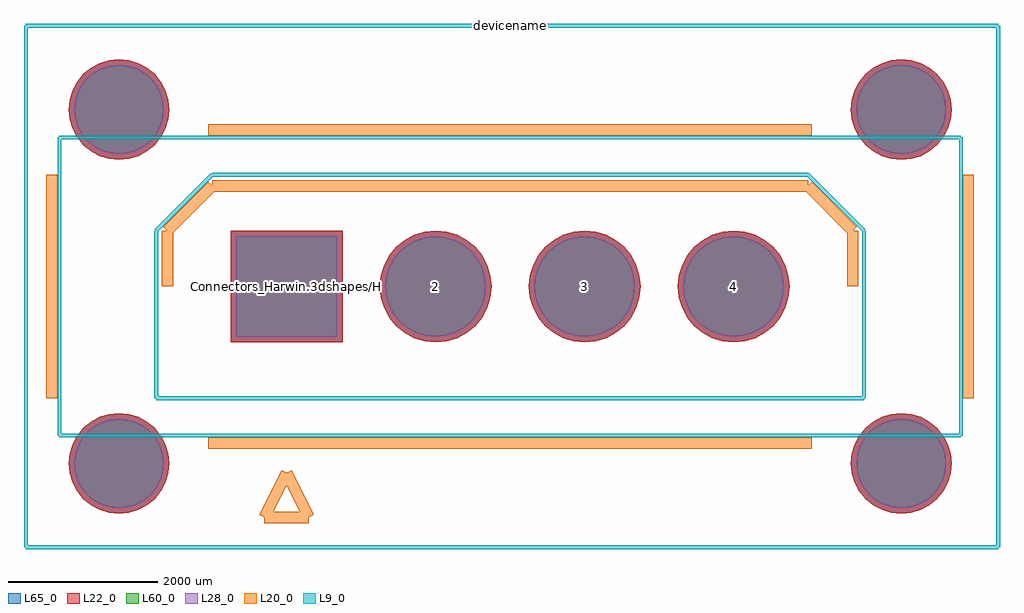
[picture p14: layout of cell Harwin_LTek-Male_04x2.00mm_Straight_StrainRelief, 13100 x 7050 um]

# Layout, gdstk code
import gdstk
lib = gdstk.Library(unit=1e-6, precision=1e-09)
def R(c, l, rs):  # rectangles x0, y0, x1, y1
    for r in rs: c.add(gdstk.rectangle(r[:2], r[2:], *l))
def P(c, l, *ps):  # polygons
    for p in ps: c.add(gdstk.Polygon(p, *l))
L9_0 = (9, 0)
L20_0 = (20, 0)
L22_0 = (22, 0)
L28_0 = (28, 0)
L60_0 = (60, 0)
L65_0 = (65, 0)

harwin_ltek_male_04x2_00 = lib.new_cell('Harwin_LTek-Male_04x2.00mm_Straight_StrainRelief')
R(harwin_ltek_male_04x2_00, L22_0, [(-750,-750,750,750)])
P(harwin_ltek_male_04x2_00, L22_0, [(8925,-2375),(8912.03,-2243.314),(8873.619,-2116.689),(8811.242,-1999.99),(8727.297,-1897.703),(8625.01,-1813.758),(8508.311,-1751.381),(8381.686,-1712.97),(8250,-1700),(8118.314,-1712.97),(7991.689,-1751.381),(7874.99,-1813.758),(7772.703,-1897.703),(7688.758,-1999.99),(7626.381,-2116.689),(7587.97,-2243.314),(7575,-2375),(7587.97,-2506.686),(7626.381,-2633.311),(7688.758,-2750.01),(7772.703,-2852.297),(7874.99,-2936.242),(7991.689,-2998.619),(8118.314,-3037.03),(8250,-3050),(8381.686,-3037.03),(8508.311,-2998.619),(8625.01,-2936.242),(8727.297,-2852.297),(8811.242,-2750.01),(8873.619,-2633.311),(8912.03,-2506.686)],
  [(8925,2375),(8912.03,2506.686),(8873.619,2633.311),(8811.242,2750.01),(8727.297,2852.297),(8625.01,2936.242),(8508.311,2998.619),(8381.686,3037.03),(8250,3050),(8118.314,3037.03),(7991.689,2998.619),(7874.99,2936.242),(7772.703,2852.297),(7688.758,2750.01),(7626.381,2633.311),(7587.97,2506.686),(7575,2375),(7587.97,2243.314),(7626.381,2116.689),(7688.758,1999.99),(7772.703,1897.703),(7874.99,1813.758),(7991.689,1751.381),(8118.314,1712.97),(8250,1700),(8381.686,1712.97),(8508.311,1751.381),(8625.01,1813.758),(8727.297,1897.703),(8811.242,1999.99),(8873.619,2116.689),(8912.03,2243.314)],
  [(-1575,-2375),(-1587.97,-2243.314),(-1626.381,-2116.689),(-1688.758,-1999.99),(-1772.703,-1897.703),(-1874.99,-1813.758),(-1991.689,-1751.381),(-2118.314,-1712.97),(-2250,-1700),(-2381.686,-1712.97),(-2508.311,-1751.381),(-2625.01,-1813.758),(-2727.297,-1897.703),(-2811.242,-1999.99),(-2873.619,-2116.689),(-2912.03,-2243.314),(-2925,-2375),(-2912.03,-2506.686),(-2873.619,-2633.311),(-2811.242,-2750.01),(-2727.297,-2852.297),(-2625.01,-2936.242),(-2508.311,-2998.619),(-2381.686,-3037.03),(-2250,-3050),(-2118.314,-3037.03),(-1991.689,-2998.619),(-1874.99,-2936.242),(-1772.703,-2852.297),(-1688.758,-2750.01),(-1626.381,-2633.311),(-1587.97,-2506.686)],
  [(-1575,2375),(-1587.97,2506.686),(-1626.381,2633.311),(-1688.758,2750.01),(-1772.703,2852.297),(-1874.99,2936.242),(-1991.689,2998.619),(-2118.314,3037.03),(-2250,3050),(-2381.686,3037.03),(-2508.311,2998.619),(-2625.01,2936.242),(-2727.297,2852.297),(-2811.242,2750.01),(-2873.619,2633.311),(-2912.03,2506.686),(-2925,2375),(-2912.03,2243.314),(-2873.619,2116.689),(-2811.242,1999.99),(-2727.297,1897.703),(-2625.01,1813.758),(-2508.311,1751.381),(-2381.686,1712.97),(-2250,1700),(-2118.314,1712.97),(-1991.689,1751.381),(-1874.99,1813.758),(-1772.703,1897.703),(-1688.758,1999.99),(-1626.381,2116.689),(-1587.97,2243.314)],
  [(6750,0),(6735.589,146.318),(6692.91,287.013),(6623.602,416.678),(6530.33,530.33),(6416.678,623.602),(6287.013,692.91),(6146.318,735.589),(6000,750),(5853.682,735.589),(5712.987,692.91),(5583.322,623.602),(5469.67,530.33),(5376.398,416.678),(5307.09,287.013),(5264.411,146.318),(5250,0),(5264.411,-146.318),(5307.09,-287.013),(5376.398,-416.678),(5469.67,-530.33),(5583.322,-623.602),(5712.987,-692.91),(5853.682,-735.589),(6000,-750),(6146.318,-735.589),(6287.013,-692.91),(6416.678,-623.602),(6530.33,-530.33),(6623.602,-416.678),(6692.91,-287.013),(6735.589,-146.318)],
  [(4750,0),(4735.589,146.318),(4692.91,287.013),(4623.602,416.678),(4530.33,530.33),(4416.678,623.602),(4287.013,692.91),(4146.318,735.589),(4000,750),(3853.682,735.589),(3712.987,692.91),(3583.322,623.602),(3469.67,530.33),(3376.398,416.678),(3307.09,287.013),(3264.411,146.318),(3250,0),(3264.411,-146.318),(3307.09,-287.013),(3376.398,-416.678),(3469.67,-530.33),(3583.322,-623.602),(3712.987,-692.91),(3853.682,-735.589),(4000,-750),(4146.318,-735.589),(4287.013,-692.91),(4416.678,-623.602),(4530.33,-530.33),(4623.602,-416.678),(4692.91,-287.013),(4735.589,-146.318)],
  [(2750,0),(2735.589,146.318),(2692.91,287.013),(2623.602,416.678),(2530.33,530.33),(2416.678,623.602),(2287.013,692.91),(2146.318,735.589),(2000,750),(1853.682,735.589),(1712.987,692.91),(1583.322,623.602),(1469.67,530.33),(1376.398,416.678),(1307.09,287.013),(1264.411,146.318),(1250,0),(1264.411,-146.318),(1307.09,-287.013),(1376.398,-416.678),(1469.67,-530.33),(1583.322,-623.602),(1712.987,-692.91),(1853.682,-735.589),(2000,-750),(2146.318,-735.589),(2287.013,-692.91),(2416.678,-623.602),(2530.33,-530.33),(2623.602,-416.678),(2692.91,-287.013),(2735.589,-146.318)])
R(harwin_ltek_male_04x2_00, L28_0, [(-675,-675,675,675)])
P(harwin_ltek_male_04x2_00, L28_0, [(8850,-2375),(8838.471,-2257.946),(8804.328,-2145.39),(8748.882,-2041.658),(8674.264,-1950.736),(8583.342,-1876.118),(8479.61,-1820.672),(8367.054,-1786.529),(8250,-1775),(8132.946,-1786.529),(8020.39,-1820.672),(7916.658,-1876.118),(7825.736,-1950.736),(7751.118,-2041.658),(7695.672,-2145.39),(7661.529,-2257.946),(7650,-2375),(7661.529,-2492.054),(7695.672,-2604.61),(7751.118,-2708.342),(7825.736,-2799.264),(7916.658,-2873.882),(8020.39,-2929.328),(8132.946,-2963.471),(8250,-2975),(8367.054,-2963.471),(8479.61,-2929.328),(8583.342,-2873.882),(8674.264,-2799.264),(8748.882,-2708.342),(8804.328,-2604.61),(8838.471,-2492.054)],
  [(8850,2375),(8838.471,2492.054),(8804.328,2604.61),(8748.882,2708.342),(8674.264,2799.264),(8583.342,2873.882),(8479.61,2929.328),(8367.054,2963.471),(8250,2975),(8132.946,2963.471),(8020.39,2929.328),(7916.658,2873.882),(7825.736,2799.264),(7751.118,2708.342),(7695.672,2604.61),(7661.529,2492.054),(7650,2375),(7661.529,2257.946),(7695.672,2145.39),(7751.118,2041.658),(7825.736,1950.736),(7916.658,1876.118),(8020.39,1820.672),(8132.946,1786.529),(8250,1775),(8367.054,1786.529),(8479.61,1820.672),(8583.342,1876.118),(8674.264,1950.736),(8748.882,2041.658),(8804.328,2145.39),(8838.471,2257.946)],
  [(-1650,-2375),(-1661.529,-2257.946),(-1695.672,-2145.39),(-1751.118,-2041.658),(-1825.736,-1950.736),(-1916.658,-1876.118),(-2020.39,-1820.672),(-2132.946,-1786.529),(-2250,-1775),(-2367.054,-1786.529),(-2479.61,-1820.672),(-2583.342,-1876.118),(-2674.264,-1950.736),(-2748.882,-2041.658),(-2804.328,-2145.39),(-2838.471,-2257.946),(-2850,-2375),(-2838.471,-2492.054),(-2804.328,-2604.61),(-2748.882,-2708.342),(-2674.264,-2799.264),(-2583.342,-2873.882),(-2479.61,-2929.328),(-2367.054,-2963.471),(-2250,-2975),(-2132.946,-2963.471),(-2020.39,-2929.328),(-1916.658,-2873.882),(-1825.736,-2799.264),(-1751.118,-2708.342),(-1695.672,-2604.61),(-1661.529,-2492.054)],
  [(-1650,2375),(-1661.529,2492.054),(-1695.672,2604.61),(-1751.118,2708.342),(-1825.736,2799.264),(-1916.658,2873.882),(-2020.39,2929.328),(-2132.946,2963.471),(-2250,2975),(-2367.054,2963.471),(-2479.61,2929.328),(-2583.342,2873.882),(-2674.264,2799.264),(-2748.882,2708.342),(-2804.328,2604.61),(-2838.471,2492.054),(-2850,2375),(-2838.471,2257.946),(-2804.328,2145.39),(-2748.882,2041.658),(-2674.264,1950.736),(-2583.342,1876.118),(-2479.61,1820.672),(-2367.054,1786.529),(-2250,1775),(-2132.946,1786.529),(-2020.39,1820.672),(-1916.658,1876.118),(-1825.736,1950.736),(-1751.118,2041.658),(-1695.672,2145.39),(-1661.529,2257.946)],
  [(6675,0),(6662.03,131.686),(6623.619,258.311),(6561.242,375.01),(6477.297,477.297),(6375.01,561.242),(6258.311,623.619),(6131.686,662.03),(6000,675),(5868.314,662.03),(5741.689,623.619),(5624.99,561.242),(5522.703,477.297),(5438.758,375.01),(5376.381,258.311),(5337.97,131.686),(5325,0),(5337.97,-131.686),(5376.381,-258.311),(5438.758,-375.01),(5522.703,-477.297),(5624.99,-561.242),(5741.689,-623.619),(5868.314,-662.03),(6000,-675),(6131.686,-662.03),(6258.311,-623.619),(6375.01,-561.242),(6477.297,-477.297),(6561.242,-375.01),(6623.619,-258.311),(6662.03,-131.686)],
  [(4675,0),(4662.03,131.686),(4623.619,258.311),(4561.242,375.01),(4477.297,477.297),(4375.01,561.242),(4258.311,623.619),(4131.686,662.03),(4000,675),(3868.314,662.03),(3741.689,623.619),(3624.99,561.242),(3522.703,477.297),(3438.758,375.01),(3376.381,258.311),(3337.97,131.686),(3325,0),(3337.97,-131.686),(3376.381,-258.311),(3438.758,-375.01),(3522.703,-477.297),(3624.99,-561.242),(3741.689,-623.619),(3868.314,-662.03),(4000,-675),(4131.686,-662.03),(4258.311,-623.619),(4375.01,-561.242),(4477.297,-477.297),(4561.242,-375.01),(4623.619,-258.311),(4662.03,-131.686)],
  [(2675,0),(2662.03,131.686),(2623.619,258.311),(2561.242,375.01),(2477.297,477.297),(2375.01,561.242),(2258.311,623.619),(2131.686,662.03),(2000,675),(1868.314,662.03),(1741.689,623.619),(1624.99,561.242),(1522.703,477.297),(1438.758,375.01),(1376.381,258.311),(1337.97,131.686),(1325,0),(1337.97,-131.686),(1376.381,-258.311),(1438.758,-375.01),(1522.703,-477.297),(1624.99,-561.242),(1741.689,-623.619),(1868.314,-662.03),(2000,-675),(2131.686,-662.03),(2258.311,-623.619),(2375.01,-561.242),(2477.297,-477.297),(2561.242,-375.01),(2623.619,-258.311),(2662.03,-131.686)])
R(harwin_ltek_male_04x2_00, L60_0, [(-675,-675,675,675)])
P(harwin_ltek_male_04x2_00, L60_0, [(8850,-2375),(8838.471,-2257.946),(8804.328,-2145.39),(8748.882,-2041.658),(8674.264,-1950.736),(8583.342,-1876.118),(8479.61,-1820.672),(8367.054,-1786.529),(8250,-1775),(8132.946,-1786.529),(8020.39,-1820.672),(7916.658,-1876.118),(7825.736,-1950.736),(7751.118,-2041.658),(7695.672,-2145.39),(7661.529,-2257.946),(7650,-2375),(7661.529,-2492.054),(7695.672,-2604.61),(7751.118,-2708.342),(7825.736,-2799.264),(7916.658,-2873.882),(8020.39,-2929.328),(8132.946,-2963.471),(8250,-2975),(8367.054,-2963.471),(8479.61,-2929.328),(8583.342,-2873.882),(8674.264,-2799.264),(8748.882,-2708.342),(8804.328,-2604.61),(8838.471,-2492.054)],
  [(8850,2375),(8838.471,2492.054),(8804.328,2604.61),(8748.882,2708.342),(8674.264,2799.264),(8583.342,2873.882),(8479.61,2929.328),(8367.054,2963.471),(8250,2975),(8132.946,2963.471),(8020.39,2929.328),(7916.658,2873.882),(7825.736,2799.264),(7751.118,2708.342),(7695.672,2604.61),(7661.529,2492.054),(7650,2375),(7661.529,2257.946),(7695.672,2145.39),(7751.118,2041.658),(7825.736,1950.736),(7916.658,1876.118),(8020.39,1820.672),(8132.946,1786.529),(8250,1775),(8367.054,1786.529),(8479.61,1820.672),(8583.342,1876.118),(8674.264,1950.736),(8748.882,2041.658),(8804.328,2145.39),(8838.471,2257.946)],
  [(-1650,-2375),(-1661.529,-2257.946),(-1695.672,-2145.39),(-1751.118,-2041.658),(-1825.736,-1950.736),(-1916.658,-1876.118),(-2020.39,-1820.672),(-2132.946,-1786.529),(-2250,-1775),(-2367.054,-1786.529),(-2479.61,-1820.672),(-2583.342,-1876.118),(-2674.264,-1950.736),(-2748.882,-2041.658),(-2804.328,-2145.39),(-2838.471,-2257.946),(-2850,-2375),(-2838.471,-2492.054),(-2804.328,-2604.61),(-2748.882,-2708.342),(-2674.264,-2799.264),(-2583.342,-2873.882),(-2479.61,-2929.328),(-2367.054,-2963.471),(-2250,-2975),(-2132.946,-2963.471),(-2020.39,-2929.328),(-1916.658,-2873.882),(-1825.736,-2799.264),(-1751.118,-2708.342),(-1695.672,-2604.61),(-1661.529,-2492.054)],
  [(-1650,2375),(-1661.529,2492.054),(-1695.672,2604.61),(-1751.118,2708.342),(-1825.736,2799.264),(-1916.658,2873.882),(-2020.39,2929.328),(-2132.946,2963.471),(-2250,2975),(-2367.054,2963.471),(-2479.61,2929.328),(-2583.342,2873.882),(-2674.264,2799.264),(-2748.882,2708.342),(-2804.328,2604.61),(-2838.471,2492.054),(-2850,2375),(-2838.471,2257.946),(-2804.328,2145.39),(-2748.882,2041.658),(-2674.264,1950.736),(-2583.342,1876.118),(-2479.61,1820.672),(-2367.054,1786.529),(-2250,1775),(-2132.946,1786.529),(-2020.39,1820.672),(-1916.658,1876.118),(-1825.736,1950.736),(-1751.118,2041.658),(-1695.672,2145.39),(-1661.529,2257.946)],
  [(6675,0),(6662.03,131.686),(6623.619,258.311),(6561.242,375.01),(6477.297,477.297),(6375.01,561.242),(6258.311,623.619),(6131.686,662.03),(6000,675),(5868.314,662.03),(5741.689,623.619),(5624.99,561.242),(5522.703,477.297),(5438.758,375.01),(5376.381,258.311),(5337.97,131.686),(5325,0),(5337.97,-131.686),(5376.381,-258.311),(5438.758,-375.01),(5522.703,-477.297),(5624.99,-561.242),(5741.689,-623.619),(5868.314,-662.03),(6000,-675),(6131.686,-662.03),(6258.311,-623.619),(6375.01,-561.242),(6477.297,-477.297),(6561.242,-375.01),(6623.619,-258.311),(6662.03,-131.686)],
  [(4675,0),(4662.03,131.686),(4623.619,258.311),(4561.242,375.01),(4477.297,477.297),(4375.01,561.242),(4258.311,623.619),(4131.686,662.03),(4000,675),(3868.314,662.03),(3741.689,623.619),(3624.99,561.242),(3522.703,477.297),(3438.758,375.01),(3376.381,258.311),(3337.97,131.686),(3325,0),(3337.97,-131.686),(3376.381,-258.311),(3438.758,-375.01),(3522.703,-477.297),(3624.99,-561.242),(3741.689,-623.619),(3868.314,-662.03),(4000,-675),(4131.686,-662.03),(4258.311,-623.619),(4375.01,-561.242),(4477.297,-477.297),(4561.242,-375.01),(4623.619,-258.311),(4662.03,-131.686)],
  [(2675,0),(2662.03,131.686),(2623.619,258.311),(2561.242,375.01),(2477.297,477.297),(2375.01,561.242),(2258.311,623.619),(2131.686,662.03),(2000,675),(1868.314,662.03),(1741.689,623.619),(1624.99,561.242),(1522.703,477.297),(1438.758,375.01),(1376.381,258.311),(1337.97,131.686),(1325,0),(1337.97,-131.686),(1376.381,-258.311),(1438.758,-375.01),(1522.703,-477.297),(1624.99,-561.242),(1741.689,-623.619),(1868.314,-662.03),(2000,-675),(2131.686,-662.03),(2258.311,-623.619),(2375.01,-561.242),(2477.297,-477.297),(2561.242,-375.01),(2623.619,-258.311),(2662.03,-131.686)])
R(harwin_ltek_male_04x2_00, L65_0, [(-750,-750,750,750)])
P(harwin_ltek_male_04x2_00, L65_0, [(8925,-2375),(8912.03,-2243.314),(8873.619,-2116.689),(8811.242,-1999.99),(8727.297,-1897.703),(8625.01,-1813.758),(8508.311,-1751.381),(8381.686,-1712.97),(8250,-1700),(8118.314,-1712.97),(7991.689,-1751.381),(7874.99,-1813.758),(7772.703,-1897.703),(7688.758,-1999.99),(7626.381,-2116.689),(7587.97,-2243.314),(7575,-2375),(7587.97,-2506.686),(7626.381,-2633.311),(7688.758,-2750.01),(7772.703,-2852.297),(7874.99,-2936.242),(7991.689,-2998.619),(8118.314,-3037.03),(8250,-3050),(8381.686,-3037.03),(8508.311,-2998.619),(8625.01,-2936.242),(8727.297,-2852.297),(8811.242,-2750.01),(8873.619,-2633.311),(8912.03,-2506.686)],
  [(8925,2375),(8912.03,2506.686),(8873.619,2633.311),(8811.242,2750.01),(8727.297,2852.297),(8625.01,2936.242),(8508.311,2998.619),(8381.686,3037.03),(8250,3050),(8118.314,3037.03),(7991.689,2998.619),(7874.99,2936.242),(7772.703,2852.297),(7688.758,2750.01),(7626.381,2633.311),(7587.97,2506.686),(7575,2375),(7587.97,2243.314),(7626.381,2116.689),(7688.758,1999.99),(7772.703,1897.703),(7874.99,1813.758),(7991.689,1751.381),(8118.314,1712.97),(8250,1700),(8381.686,1712.97),(8508.311,1751.381),(8625.01,1813.758),(8727.297,1897.703),(8811.242,1999.99),(8873.619,2116.689),(8912.03,2243.314)],
  [(-1575,-2375),(-1587.97,-2243.314),(-1626.381,-2116.689),(-1688.758,-1999.99),(-1772.703,-1897.703),(-1874.99,-1813.758),(-1991.689,-1751.381),(-2118.314,-1712.97),(-2250,-1700),(-2381.686,-1712.97),(-2508.311,-1751.381),(-2625.01,-1813.758),(-2727.297,-1897.703),(-2811.242,-1999.99),(-2873.619,-2116.689),(-2912.03,-2243.314),(-2925,-2375),(-2912.03,-2506.686),(-2873.619,-2633.311),(-2811.242,-2750.01),(-2727.297,-2852.297),(-2625.01,-2936.242),(-2508.311,-2998.619),(-2381.686,-3037.03),(-2250,-3050),(-2118.314,-3037.03),(-1991.689,-2998.619),(-1874.99,-2936.242),(-1772.703,-2852.297),(-1688.758,-2750.01),(-1626.381,-2633.311),(-1587.97,-2506.686)],
  [(-1575,2375),(-1587.97,2506.686),(-1626.381,2633.311),(-1688.758,2750.01),(-1772.703,2852.297),(-1874.99,2936.242),(-1991.689,2998.619),(-2118.314,3037.03),(-2250,3050),(-2381.686,3037.03),(-2508.311,2998.619),(-2625.01,2936.242),(-2727.297,2852.297),(-2811.242,2750.01),(-2873.619,2633.311),(-2912.03,2506.686),(-2925,2375),(-2912.03,2243.314),(-2873.619,2116.689),(-2811.242,1999.99),(-2727.297,1897.703),(-2625.01,1813.758),(-2508.311,1751.381),(-2381.686,1712.97),(-2250,1700),(-2118.314,1712.97),(-1991.689,1751.381),(-1874.99,1813.758),(-1772.703,1897.703),(-1688.758,1999.99),(-1626.381,2116.689),(-1587.97,2243.314)],
  [(6750,0),(6735.589,146.318),(6692.91,287.013),(6623.602,416.678),(6530.33,530.33),(6416.678,623.602),(6287.013,692.91),(6146.318,735.589),(6000,750),(5853.682,735.589),(5712.987,692.91),(5583.322,623.602),(5469.67,530.33),(5376.398,416.678),(5307.09,287.013),(5264.411,146.318),(5250,0),(5264.411,-146.318),(5307.09,-287.013),(5376.398,-416.678),(5469.67,-530.33),(5583.322,-623.602),(5712.987,-692.91),(5853.682,-735.589),(6000,-750),(6146.318,-735.589),(6287.013,-692.91),(6416.678,-623.602),(6530.33,-530.33),(6623.602,-416.678),(6692.91,-287.013),(6735.589,-146.318)],
  [(4750,0),(4735.589,146.318),(4692.91,287.013),(4623.602,416.678),(4530.33,530.33),(4416.678,623.602),(4287.013,692.91),(4146.318,735.589),(4000,750),(3853.682,735.589),(3712.987,692.91),(3583.322,623.602),(3469.67,530.33),(3376.398,416.678),(3307.09,287.013),(3264.411,146.318),(3250,0),(3264.411,-146.318),(3307.09,-287.013),(3376.398,-416.678),(3469.67,-530.33),(3583.322,-623.602),(3712.987,-692.91),(3853.682,-735.589),(4000,-750),(4146.318,-735.589),(4287.013,-692.91),(4416.678,-623.602),(4530.33,-530.33),(4623.602,-416.678),(4692.91,-287.013),(4735.589,-146.318)],
  [(2750,0),(2735.589,146.318),(2692.91,287.013),(2623.602,416.678),(2530.33,530.33),(2416.678,623.602),(2287.013,692.91),(2146.318,735.589),(2000,750),(1853.682,735.589),(1712.987,692.91),(1583.322,623.602),(1469.67,530.33),(1376.398,416.678),(1307.09,287.013),(1264.411,146.318),(1250,0),(1264.411,-146.318),(1307.09,-287.013),(1376.398,-416.678),(1469.67,-530.33),(1583.322,-623.602),(1712.987,-692.91),(1853.682,-735.589),(2000,-750),(2146.318,-735.589),(2287.013,-692.91),(2416.678,-623.602),(2530.33,-530.33),(2623.602,-416.678),(2692.91,-287.013),(2735.589,-146.318)])
harwin_ltek_male_04x2_00.add(gdstk.FlexPath([(300,-3100),(0,-2500)], 149.998, ends="flush", simple_path=True, layer=20, datatype=0))  # L20_0
harwin_ltek_male_04x2_00.add(gdstk.FlexPath([(-300,-3100),(300,-3100)], 149.998, ends="flush", simple_path=True, layer=20, datatype=0))  # L20_0
harwin_ltek_male_04x2_00.add(gdstk.FlexPath([(0,-2500),(-300,-3100)], 149.998, ends="flush", simple_path=True, layer=20, datatype=0))  # L20_0
harwin_ltek_male_04x2_00.add(gdstk.FlexPath([(7000,1350),(3000,1350)], 149.998, ends="flush", simple_path=True, layer=20, datatype=0))  # L20_0
harwin_ltek_male_04x2_00.add(gdstk.FlexPath([(7600,750),(7000,1350)], 149.998, ends="flush", simple_path=True, layer=20, datatype=0))  # L20_0
harwin_ltek_male_04x2_00.add(gdstk.FlexPath([(7600,0),(7600,750)], 149.998, ends="flush", simple_path=True, layer=20, datatype=0))  # L20_0
harwin_ltek_male_04x2_00.add(gdstk.FlexPath([(-1000,1350),(3000,1350)], 149.998, ends="flush", simple_path=True, layer=20, datatype=0))  # L20_0
harwin_ltek_male_04x2_00.add(gdstk.FlexPath([(-1600,750),(-1000,1350)], 149.998, ends="flush", simple_path=True, layer=20, datatype=0))  # L20_0
harwin_ltek_male_04x2_00.add(gdstk.FlexPath([(-1600,0),(-1600,750)], 149.998, ends="flush", simple_path=True, layer=20, datatype=0))  # L20_0
harwin_ltek_male_04x2_00.add(gdstk.FlexPath([(7750,-1500),(-1750,-1500)], 50, ends="flush", simple_path=True, layer=9, datatype=0))  # L9_0
harwin_ltek_male_04x2_00.add(gdstk.FlexPath([(7750,750),(7750,-1500)], 50, ends="flush", simple_path=True, layer=9, datatype=0))  # L9_0
harwin_ltek_male_04x2_00.add(gdstk.FlexPath([(7000,1500),(7750,750)], 50, ends="flush", simple_path=True, layer=9, datatype=0))  # L9_0
harwin_ltek_male_04x2_00.add(gdstk.FlexPath([(-1000,1500),(7000,1500)], 50, ends="flush", simple_path=True, layer=9, datatype=0))  # L9_0
harwin_ltek_male_04x2_00.add(gdstk.FlexPath([(-1750,750),(-1000,1500)], 50, ends="flush", simple_path=True, layer=9, datatype=0))  # L9_0
harwin_ltek_male_04x2_00.add(gdstk.FlexPath([(-1750,-1500),(-1750,750)], 50, ends="flush", simple_path=True, layer=9, datatype=0))  # L9_0
harwin_ltek_male_04x2_00.add(gdstk.FlexPath([(9050,2000),(-3050,2000)], 50, ends="flush", simple_path=True, layer=9, datatype=0))  # L9_0
harwin_ltek_male_04x2_00.add(gdstk.FlexPath([(9050,-2000),(9050,2000)], 50, ends="flush", simple_path=True, layer=9, datatype=0))  # L9_0
harwin_ltek_male_04x2_00.add(gdstk.FlexPath([(-3050,-2000),(9050,-2000)], 50, ends="flush", simple_path=True, layer=9, datatype=0))  # L9_0
harwin_ltek_male_04x2_00.add(gdstk.FlexPath([(-3050,2000),(-3050,-2000)], 50, ends="flush", simple_path=True, layer=9, datatype=0))  # L9_0
harwin_ltek_male_04x2_00.add(gdstk.FlexPath([(9550,3500),(-3500,3500)], 50, ends="flush", simple_path=True, layer=9, datatype=0))  # L9_0
harwin_ltek_male_04x2_00.add(gdstk.FlexPath([(9550,-3500),(9550,3500)], 50, ends="flush", simple_path=True, layer=9, datatype=0))  # L9_0
harwin_ltek_male_04x2_00.add(gdstk.FlexPath([(-3500,-3500),(9550,-3500)], 50, ends="flush", simple_path=True, layer=9, datatype=0))  # L9_0
harwin_ltek_male_04x2_00.add(gdstk.FlexPath([(-3500,3500),(-3500,-3500)], 50, ends="flush", simple_path=True, layer=9, datatype=0))  # L9_0
harwin_ltek_male_04x2_00.add(gdstk.FlexPath([(9150,1500),(9150,-1500)], 149.998, ends="flush", simple_path=True, layer=20, datatype=0))  # L20_0
harwin_ltek_male_04x2_00.add(gdstk.FlexPath([(-3150,1500),(-3150,-1500)], 149.998, ends="flush", simple_path=True, layer=20, datatype=0))  # L20_0
harwin_ltek_male_04x2_00.add(gdstk.FlexPath([(-1050,-2100),(7050,-2100)], 149.998, ends="flush", simple_path=True, layer=20, datatype=0))  # L20_0
harwin_ltek_male_04x2_00.add(gdstk.FlexPath([(-1050,2100),(7050,2100)], 149.998, ends="flush", simple_path=True, layer=20, datatype=0))  # L20_0
harwin_ltek_male_04x2_00.add(gdstk.Label('Connectors_Harwin.3dshapes/Harwin_LTek-Male_04x2.00mm_Straight_StrainRelief.wrl', (0,0), layer=12, texttype=0))
harwin_ltek_male_04x2_00.add(gdstk.Label('4', (6000,0), layer=28, texttype=0))
harwin_ltek_male_04x2_00.add(gdstk.Label('3', (4000,0), layer=28, texttype=0))
harwin_ltek_male_04x2_00.add(gdstk.Label('2', (2000,0), layer=28, texttype=0))
harwin_ltek_male_04x2_00.add(gdstk.Label('1', (0,0), layer=28, texttype=0))
harwin_ltek_male_04x2_00.add(gdstk.Label('type', (3000,-4000), layer=9, texttype=0))
harwin_ltek_male_04x2_00.add(gdstk.Label('devicename', (3000,3500), layer=9, texttype=0))

lib.write_gds('Harwin_LTek-Male_04x2.00mm_Straight_StrainRelief.gds')
